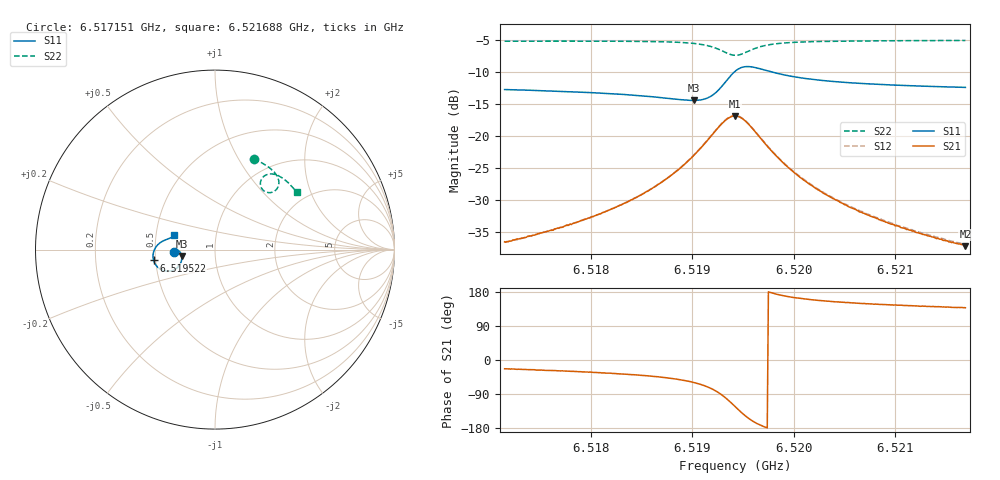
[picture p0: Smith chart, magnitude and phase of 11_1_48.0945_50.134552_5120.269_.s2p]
#  HZ  S  RI  R  50.00
! Rohde & Schwarz Vector Network Analyzer
! Rohde-Schwarz,ZNB20-2Port,1311601062101988,3.16
! Created: UTC 12/23/2023, 3:35:39 AM
! freq[Hz]  re:S11  im:S11  re:S21  im:S21  re:S12  im:S12  re:S22  im:S22
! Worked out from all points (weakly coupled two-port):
!   401 points, 6.517151 GHz to 6.521688 GHz, reference 50 ohm
!   highest |S21| = -16.88 dB at 6.51942 GHz (marker M1); lowest = -37.2 dB at 6.521688 GHz (marker M2)
!   lowest |S11| = -14.5 dB at 6.519012 GHz (marker M3), VSWR 1.47, Z = 34.2 - j2.51 ohm
!   |S11| at or under -10 dB: start of sweep to 6.519414 GHz; 6.519778 GHz to end of sweep
!   |S22| runs from -7.4 to -5.1 dB; largest |S21 - S12| = 0.0042
!   S11 on the Smith chart (normalised r, x): 6.517151 GHz: 0.63, -0.02; 6.519522 GHz: 0.49, -0.07; 6.521688 GHz: 0.62, +0.10
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6.5171513e9  -0.2297 -0.0139  0.0137 -0.00585  0.0138 -0.00534  0.215 0.505
6.517605e9  -0.2244 -0.00755  0.0163 -0.00847  0.0163 -0.00786  0.2484 0.4898
6.5179113e9  -0.2195 -0.00444  0.0188 -0.0114  0.019 -0.0107  0.271 0.4775
6.518365e9  -0.2097 -0.00337  0.0242 -0.0188  0.0249 -0.0181  0.3051 0.4547
6.5186713e9  -0.1997 -0.00861  0.03 -0.0297  0.031 -0.0288  0.3291 0.4331
6.5188641e9  -0.1917 -0.0189  0.0341 -0.0428  0.0356 -0.0418  0.3442 0.4135
6.5190115e9  -0.1859 -0.0353  0.036 -0.0603  0.038 -0.0595  0.3536 0.3916
6.5191136e9  -0.1856 -0.0548  0.0331 -0.0792  0.0357 -0.0787  0.356 0.3705
6.5192044e9  -0.1937 -0.08  0.0221 -0.1019  0.0252 -0.1021  0.3499 0.3471
6.5193291e9  -0.2387 -0.117  -0.0239 -0.1309  -0.0203 -0.1328  0.3146 0.3185
6.5193745e9  -0.2676 -0.1207  -0.0505 -0.1311  -0.0472 -0.1337  0.2932 0.318
6.5194199e9  -0.2986 -0.1125  -0.0772 -0.1207  -0.0744 -0.1238  0.2729 0.3271
6.5194653e9  -0.3241 -0.093  -0.098 -0.1008  -0.0959 -0.1044  0.2582 0.3442
6.519522e9  -0.342 -0.0602  -0.1102 -0.0705  -0.109 -0.074  0.2526 0.3697
6.5196354e9  -0.3393 -0.0041  -0.1015 -0.0224  -0.1016 -0.0256  0.2702 0.4064
6.5197488e9  -0.3197 0.0261  -0.0812 0.000339  -0.082 -0.00218  0.296 0.42
6.519953e9  -0.2904 0.0477  -0.0545 0.0128  -0.0554 0.0113  0.3322 0.4195
6.5201799e9  -0.2707 0.0562  -0.038 0.0147  -0.0389 0.0138  0.3592 0.4089
6.5205428e9  -0.2527 0.063  -0.0245 0.0134  -0.0254 0.013  0.39 0.3881
6.5209398e9  -0.2408 0.0688  -0.0172 0.0116  -0.0178 0.0115  0.4162 0.3645
6.5212801e9  -0.2333 0.0734  -0.0134 0.0106  -0.0138 0.0104  0.4354 0.3438
6.5216885e9  -0.2259 0.079  -0.0102 0.00925  -0.0108 0.00932  0.4559 0.3184
